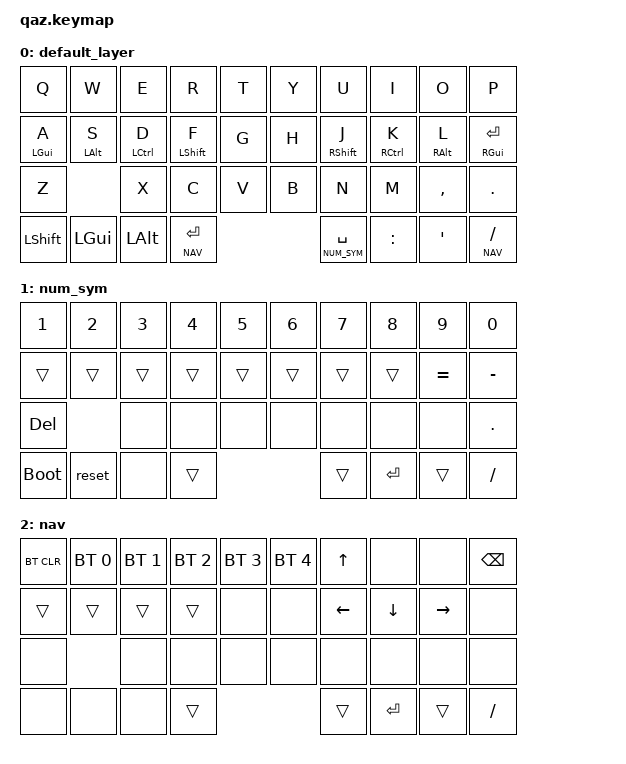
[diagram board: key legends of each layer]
/*
 * Copyright (c) 2020 The ZMK Contributors
 *
 * SPDX-License-Identifier: MIT
 */

#include <behaviors.dtsi>
#include <dt-bindings/zmk/keys.h>
#include <dt-bindings/zmk/bt.h>

#define DEFAULT 0
#define NUM_SYM 1
#define NAV     2

/ {
    behaviors {
        hm: homerow_mods {
            compatible = "zmk,behavior-hold-tap";
            label = "homerow mods";
            #binding-cells = <2>;
            tapping-term-ms = <225>;
            flavor = "tap-preferred";
            bindings = <&kp>, <&kp>;
        };
    };
};

/ {
    keymap {
        compatible = "zmk,keymap";

        default_layer {
            bindings = <
    &kp Q      &kp W      &kp E       &kp R       &kp T  &kp Y  &kp U       &kp I       &kp O      &kp P
    &hm LGUI A &hm LALT S &hm LCTRL D &hm LSHFT F &kp G  &kp H  &hm RSHFT J &hm RCTRL K &hm RALT L &hm RGUI RET
    &kp Z                 &kp X       &kp C       &kp V  &kp B  &kp N       &kp M       &kp COMMA  &kp DOT
    &kp LSHFT  &kp LGUI   &kp LALT       &lt NAV RET    &lt NUM_SYM SPACE   &kp COLON   &kp SQT    &lt NAV FSLH
            >;
        };
        num_sym {
            bindings = <
    &kp N1     &kp N2     &kp N3     &kp N4     &kp N5 &kp N6 &kp N7     &kp N8      &kp N9    &kp N0
    &trans     &trans     &trans     &trans     &trans &trans &trans     &trans      &kp EQUAL &kp MINUS
    &kp DEL               &none      &none      &none  &none  &none      &none       &none     &kp DOT
    &bootloader &reset    &none         &trans        &trans             &kp RET     &trans    &kp FSLH
            >;
        };

    nav {
            bindings = <
    &bt BT_CLR &bt BT_SEL 0 &bt BT_SEL 1 &bt BT_SEL 2 &bt BT_SEL 3 &bt BT_SEL 4  &kp UP &none &none &kp BSPC
    &trans     &trans     &trans     &trans      &none &none &kp LEFT    &kp DOWN     &kp RIGHT &none
    &none                 &none      &none       &none &none &none       &none        &none     &none
    &none      &none      &none         &trans        &trans             &kp RET      &trans    &kp FSLH
            >;
        };
    };
};
